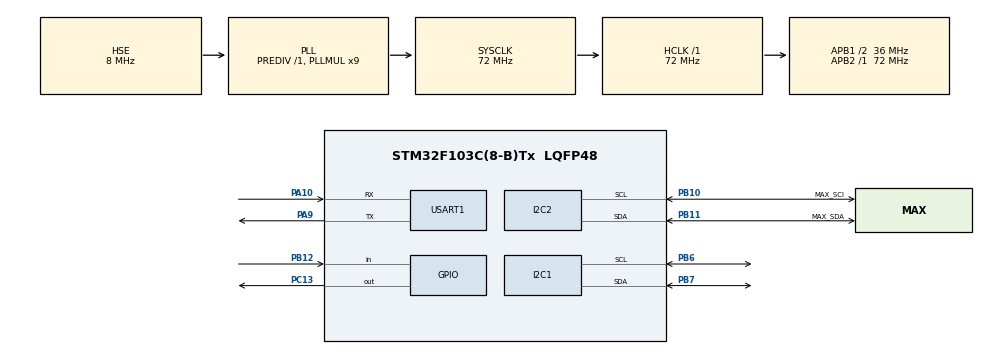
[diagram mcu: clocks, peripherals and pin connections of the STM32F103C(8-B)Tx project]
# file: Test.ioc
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I2C1.DutyCycle=I2C_DUTYCYCLE_16_9
I2C1.I2C_Mode=I2C_Fast
I2C2.DutyCycle=I2C_DUTYCYCLE_16_9
I2C2.I2C_Mode=I2C_Fast
Mcu.Family=STM32F1
Mcu.Name=STM32F103C(8-B)Tx
Mcu.Package=LQFP48
NVIC.I2C1_EV_IRQn=true\:1\:0\:true\:true\:true\:2\:true\:true\:true
NVIC.I2C2_EV_IRQn=true\:1\:0\:true\:true\:true\:1\:true\:true\:true
NVIC.PriorityGroup=NVIC_PRIORITYGROUP_4
PA10.Mode=Asynchronous
PA10.Signal=USART1_RX
PA13.Mode=Serial_Wire
PA13.Signal=SYS_JTMS-SWDIO
PA14.Mode=Serial_Wire
PA14.Signal=SYS_JTCK-SWCLK
PA9.Mode=Asynchronous
PA9.Signal=USART1_TX
PB10.GPIO_Label=MAX_SCl
PB10.Mode=I2C
PB10.Signal=I2C2_SCL
PB11.GPIO_Label=MAX_SDA
PB11.Mode=I2C
PB11.Signal=I2C2_SDA
PB12.GPIO_PuPd=GPIO_PULLUP
PB12.Signal=GPIO_Input
PB6.Mode=I2C
PB6.Signal=I2C1_SCL
PB7.Mode=I2C
PB7.Signal=I2C1_SDA
PC13-TAMPER-RTC.GPIO_PuPd=GPIO_NOPULL
PC13-TAMPER-RTC.GPIO_Speed=GPIO_SPEED_FREQ_HIGH
PC13-TAMPER-RTC.PinState=GPIO_PIN_SET
PC13-TAMPER-RTC.Signal=GPIO_Output
PC14-OSC32_IN.Mode=LSE-External-Oscillator
PC14-OSC32_IN.Signal=RCC_OSC32_IN
PC15-OSC32_OUT.Mode=LSE-External-Oscillator
PC15-OSC32_OUT.Signal=RCC_OSC32_OUT
PD0-OSC_IN.Mode=HSE-External-Oscillator
PD0-OSC_IN.Signal=RCC_OSC_IN
PD1-OSC_OUT.Mode=HSE-External-Oscillator
PD1-OSC_OUT.Signal=RCC_OSC_OUT
ProjectManager.HeapSize=0x200
ProjectManager.StackSize=0x400
ProjectManager.TargetToolchain=Makefile
RCC.AHBFreq_Value=72000000
RCC.APB1CLKDivider=RCC_HCLK_DIV2
RCC.APB1Freq_Value=36000000
RCC.APB1TimFreq_Value=72000000
RCC.APB2Freq_Value=72000000
RCC.APB2TimFreq_Value=72000000
RCC.HCLKFreq_Value=72000000
RCC.PLLMUL=RCC_PLL_MUL9
RCC.PLLSourceVirtual=RCC_PLLSOURCE_HSE
RCC.SYSCLKFreq_VALUE=72000000
RCC.SYSCLKSource=RCC_SYSCLKSOURCE_PLLCLK
RCC.USBFreq_Value=72000000
USART1.VirtualMode=VM_ASYNC
board=custom

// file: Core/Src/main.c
/* USER CODE BEGIN Header */
/**
  ******************************************************************************
  * @file           : main.c
  * @brief          : Main program body
  ******************************************************************************
  * @attention
  *
  * Copyright (c) 2023 STMicroelectronics.
  * All rights reserved.
  *
  * This software is licensed under terms that can be found in the LICENSE file
  * in the root directory of this software component.
  * If no LICENSE file comes with this software, it is provided AS-IS.
  *
  ******************************************************************************
  */
/* USER CODE END Header */
#include "main.h"
#include "i2c.h"
#include "usart.h"
#include "gpio.h"

/* USER CODE BEGIN Includes */
#include "max30102.h"
#include "debug.h"
#include "helperFunc.h"
#include "oled.h"
/* USER CODE END Includes */

/* USER CODE BEGIN PV */
extern I2C_HandleTypeDef hi2c2;
extern I2C_HandleTypeDef hi2c1;
/* USER CODE END PV */

void SystemClock_Config(void);
static void MX_NVIC_Init(void);

/* USER CODE BEGIN 0 */
void HAL_UART_RxCpltCallback(UART_HandleTypeDef *huart)
{
  if(huart->Instance == USART1)
  {
    debug_callback();
    // HAL_UART_Transmit(&huart1, u8_TxBuff, sizeof(u8_TxBuff),100);
  }
}
/* USER CODE END 0 */

int main(void)
{

  /* MCU Configuration--------------------------------------------------------*/

  /* Reset of all peripherals, Initializes the Flash interface and the Systick. */
  HAL_Init();

  /* Configure the system clock */
  SystemClock_Config();

  /* Initialize all configured peripherals */
  MX_GPIO_Init();
  MX_USART1_UART_Init();
  MX_I2C2_Init();
  MX_I2C1_Init();

  /* Initialize interrupts */
  MX_NVIC_Init();
  /* USER CODE BEGIN 2 */

  Debug_Init();

    HAL_Delay(200);
    OLED_Init();
  max30102_init();
  /* USER CODE END 2 */

  /* Infinite loop */
  while (1)
  {

    /* USER CODE BEGIN 3 */
    //   logPC("alo\n");
    // HAL_Delay(2000);
    //  if (HAL_GPIO_ReadPin(GPIOB, GPIO_PIN_12) == GPIO_PIN_RESET)
    //     {
    //         HAL_GPIO_TogglePin(GPIOC, GPIO_PIN_13);
    //         max30102_cal();

    //         uint8_t spo2 = max30102_getSpO2();
    //         uint8_t heartReat = max30102_getHeartRate();
    //          if (heartReat % 1000 / 100 > 0){
    //         logPC("HR1: %3d\n", heartReat % 1000 / 100);
    //         // HAL_Delay(100);
    //          }
    //          else
    //          {
    //           logPC("HR: %3d\n", heartReat);
    //           // HAL_Delay(100);
    //          }
    //          HAL_Delay(50);

    //     }
    //  OLED_ShowString(10, 5, "Yeu Hoang Thanh Mai");
    if (HAL_GPIO_ReadPin(GPIOB, GPIO_PIN_12) == GPIO_PIN_RESET)
        {
            HAL_GPIO_TogglePin(GPIOC, GPIO_PIN_13);
            max30102_cal();

            uint8_t spo2 = max30102_getSpO2();
            uint8_t heartReat = max30102_getHeartRate();
            //
            if (heartReat % 1000 / 100 > 0)
                OLED_showNum(0, heartReat % 1000 / 100);
            else
                OLED_showNum(0, 10);
            OLED_showNum(1, heartReat % 100 / 10);
            OLED_showNum(2, heartReat % 10);
            logPC("HR: %3d\n", heartReat);
            //
            if (spo2 % 1000 / 100 > 0)
                OLED_showNum(3, spo2 % 1000 / 100);
            else
                OLED_showNum(3, 10);
            OLED_showNum(4, spo2 % 100 / 10);
            OLED_showNum(5, spo2 % 10);
            //
            int16_t diff = max30102_getDiff();
            OLED_drawChart(diff);
            if (diff > 50)
                OLED_showHeart(0);
            else
                OLED_showHeart(1);
            // HAL_Delay(50);

        }
  }
  /* USER CODE END 3 */
}

void SystemClock_Config(void)
{
  RCC_OscInitTypeDef RCC_OscInitStruct = {0};
  RCC_ClkInitTypeDef RCC_ClkInitStruct = {0};

  /** Initializes the RCC Oscillators according to the specified parameters
  * in the RCC_OscInitTypeDef structure.
  */
  RCC_OscInitStruct.OscillatorType = RCC_OSCILLATORTYPE_HSE;
  RCC_OscInitStruct.HSEState = RCC_HSE_ON;
  RCC_OscInitStruct.HSEPredivValue = RCC_HSE_PREDIV_DIV1;
  RCC_OscInitStruct.HSIState = RCC_HSI_ON;
  RCC_OscInitStruct.PLL.PLLState = RCC_PLL_ON;
  RCC_OscInitStruct.PLL.PLLSource = RCC_PLLSOURCE_HSE;
  RCC_OscInitStruct.PLL.PLLMUL = RCC_PLL_MUL9;
  if (HAL_RCC_OscConfig(&RCC_OscInitStruct) != HAL_OK)
  {
    Error_Handler();
  }

  /** Initializes the CPU, AHB and APB buses clocks
  */
  RCC_ClkInitStruct.ClockType = RCC_CLOCKTYPE_HCLK|RCC_CLOCKTYPE_SYSCLK
                              |RCC_CLOCKTYPE_PCLK1|RCC_CLOCKTYPE_PCLK2;
  RCC_ClkInitStruct.SYSCLKSource = RCC_SYSCLKSOURCE_PLLCLK;
  RCC_ClkInitStruct.AHBCLKDivider = RCC_SYSCLK_DIV1;
  RCC_ClkInitStruct.APB1CLKDivider = RCC_HCLK_DIV2;
  RCC_ClkInitStruct.APB2CLKDivider = RCC_HCLK_DIV1;

  if (HAL_RCC_ClockConfig(&RCC_ClkInitStruct, FLASH_LATENCY_2) != HAL_OK)
  {
    Error_Handler();
  }
}

/**
  * @brief NVIC Configuration.
  * @retval None
  */
static void MX_NVIC_Init(void)
{
  /* I2C2_EV_IRQn interrupt configuration */
  HAL_NVIC_SetPriority(I2C2_EV_IRQn, 1, 0);
  HAL_NVIC_EnableIRQ(I2C2_EV_IRQn);
  /* I2C1_EV_IRQn interrupt configuration */
  HAL_NVIC_SetPriority(I2C1_EV_IRQn, 1, 0);
  HAL_NVIC_EnableIRQ(I2C1_EV_IRQn);
}

void Error_Handler(void)
{
  __disable_irq();
  while (1)
  {
  }
}
